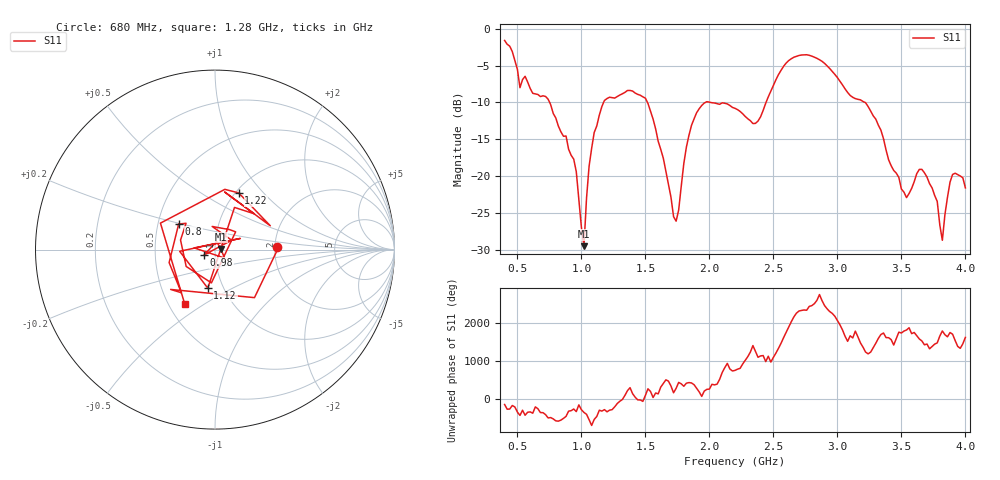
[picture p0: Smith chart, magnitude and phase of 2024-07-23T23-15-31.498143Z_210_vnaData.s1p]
!Created with skrf (http://scikit-rf.org).
# Hz S RI R 50.0
!freq ReS11 ImS11
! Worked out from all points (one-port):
!   181 points, 400 MHz to 4 GHz, reference 50 ohm
!   lowest |S11| = -29.5 dB at 1.02 GHz (marker M1), VSWR 1.07, Z = 53.4 + j0.391 ohm
!   |S11| at or under -10 dB: 1.516 GHz to 1.971 GHz (454.8 MHz wide, 26.1 % of centre); 2.006 GHz to 2.443 GHz (437 MHz wide, 19.6 % of centre); 3.214 GHz to end of sweep (the widest 3 of 4)
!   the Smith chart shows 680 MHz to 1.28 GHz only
!   S11 on the Smith chart (normalised r, x): 680 MHz: 2.05, +0.08; 800 MHz: 0.64, +0.19; 980 MHz: 0.88, -0.05; 1.12 GHz: 0.84, -0.38; 1.22 GHz: 1.04, +0.74; 1.28 GHz: 0.60, -0.41
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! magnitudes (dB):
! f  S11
! 400 MHz  -1.6
! 520 MHz  -8.0
! 680 MHz  -9.2
! 800 MHz  -12.1
! 860 MHz  -14.6
! 940 MHz  -17.7
! 980 MHz  -23.3
! 1.02 GHz  -29.5
! 1.06 GHz  -18.7
! 1.12 GHz  -13.2
! 1.22 GHz  -9.3
! 1.28 GHz  -9.2
! 1.3 GHz  -9.0
! 1.5 GHz  -9.4
! 1.72 GHz  -25.5
! 1.76 GHz  -24.6
! 1.82 GHz  -16.1
! 1.9 GHz  -11.4
! 2.2 GHz  -10.8
! 2.36 GHz  -12.9
! 2.66 GHz  -3.9
! 3.1 GHz  -9.1
! 3.56 GHz  -22.4
! 3.68 GHz  -19.6
! 3.78 GHz  -23.5
! 3.82 GHz  -28.7
! 3.9 GHz  -19.8
! 4 GHz  -21.6
